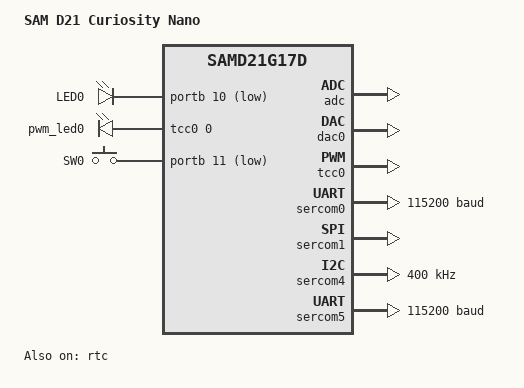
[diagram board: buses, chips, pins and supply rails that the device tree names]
/*
 * SPDX-License-Identifier: Apache-2.0
 */

/dts-v1/;
#include <freq.h>
#include <atmel/samd21g17d.dtsi>
#include "samd21_cnano-pinctrl.dtsi"
#include <zephyr/dt-bindings/input/input-event-codes.h>

/ {
	model = "SAM D21 Curiosity Nano";
	compatible = "atmel,samd21g17d";

	chosen {
		zephyr,console = &sercom5;
		zephyr,shell-uart = &sercom5;
		zephyr,sram = &sram0;
		zephyr,flash = &flash0;
	};

	aliases {
		led0 = &led0;
		pwm-led0 = &pwm_led0;
		sw0 = &user_button;
		i2c-0 = &sercom4;
		spi-0 = &sercom1;
	};

	leds {
		compatible = "gpio-leds";

		led0: led_0 {
			gpios = <&portb 10 GPIO_ACTIVE_LOW>;
			label = "LED0";
		};
	};

	pwmleds {
		compatible = "pwm-leds";

		pwm_led0: pwm_led_0 {
			pwms = <&tcc0 0 PWM_MSEC(20)>;
		};
	};

	buttons {
		compatible = "gpio-keys";

		user_button: button_0 {
			gpios = <&portb 11 (GPIO_PULL_UP | GPIO_ACTIVE_LOW)>;
			label = "SW0";
			zephyr,code = <INPUT_KEY_0>;
		};
	};
};

&cpu0 {
	clock-frequency = <DT_FREQ_M(48)>;
};

&flash0 {
	partitions {
		ranges;
		#address-cells = <1>;
		#size-cells = <1>;

		/*
		 * The final 8 KiB is reserved for the application.
		 * Storage partition will be used by FCB/LittleFS/NVS
		 * if enabled.
		 */
		storage_partition: partition@1e000 {
			compatible = "zephyr,mapped-partition";
			label = "storage";
			reg = <0x0001e000 0x00002000>;
		};
	};
};

&adc {
	status = "okay";

	pinctrl-0 = <&adc_default>;
	pinctrl-names = "default";
};

&dac0 {
	status = "okay";

	pinctrl-0 = <&dac_default>;
	pinctrl-names = "default";
};

&dmac {
	status = "okay";
};

&rtc {
	status = "okay";
	counter-mode = "clock";
	prescaler = <1024>;
};

&tcc0 {
	status = "okay";
	compatible = "atmel,sam0-tcc-pwm";
	/* Gives a maximum period of 1.4s */
	prescaler = <4>;
	#pwm-cells = <2>;

	pinctrl-0 = <&pwm_default>;
	pinctrl-names = "default";
};

&sercom0 {
	status = "okay";
	compatible = "atmel,sam0-uart";
	current-speed = <115200>;
	rxpo = <1>;
	txpo = <0>;

	pinctrl-0 = <&sercom0_uart_default>;
	pinctrl-names = "default";
};

&sercom1 {
	status = "okay";
	compatible = "atmel,sam0-spi";
	dipo = <3>;
	dopo = <0>;
	#address-cells = <1>;
	#size-cells = <0>;
	cs-gpios = <&porta 18 GPIO_ACTIVE_LOW>;

	pinctrl-0 = <&sercom1_spi_default>;
	pinctrl-names = "default";
};

&sercom4 {
	status = "okay";
	compatible = "atmel,sam0-i2c";
	clock-frequency = <I2C_BITRATE_FAST>;
	#address-cells = <1>;
	#size-cells = <0>;

	pinctrl-0 = <&sercom4_i2c_default>;
	pinctrl-names = "default";
};

&sercom5 {
	status = "okay";
	compatible = "atmel,sam0-uart";
	current-speed = <115200>;
	rxpo = <2>;
	txpo = <0>;

	pinctrl-0 = <&sercom5_uart_default>;
	pinctrl-names = "default";
};
